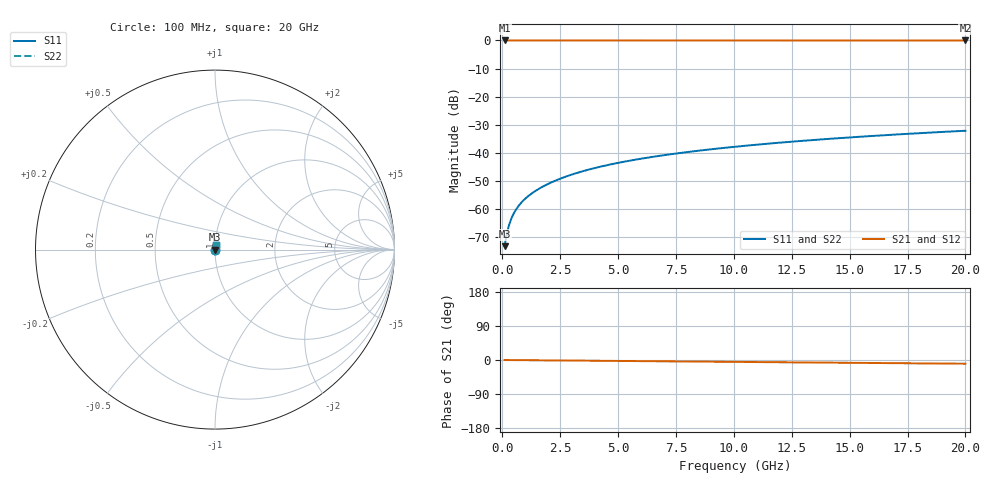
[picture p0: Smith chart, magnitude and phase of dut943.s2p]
! Touchstone file exported from HFSS 2026.1.0
!  File:  C:/ffzhzh/LocalFiles/Ansys_Project_Files/temp_train_TSV_943_1783187086_22436.aedt
!  Generated:  01:46:13 AM Jul  5, 2026
!  Design:  TSV
!  Project:  temp_train_TSV_943_1783187086_22436
! Variables:
!  h_bsmrdl = 2um
!  h_ox = 20um
!  h_rdl = 5um
!  h_sub = 98.18um
!  h_tmrdl = 5um
!  h_tsv = 98.18um
!  h_via = 3um
!  l_bsmrdl = 300um
!  l_sub = 421.06um
!  l_tmrdl = 200um
!  m_sub = 200um
!  pitch = 50.54um
!  r_tsv = 10.53um
!  s_tmrdl = 10um
!  w_bsmrdl = 18um
!  w_sub = 500um
!  w_tmrdl = 12um
!  x_tsv_center1 = 206um
!  x_tsv_center2 = 524um
!  x_tsv_center3 = 736um
!  x_tsv_center4 = 1054um
!  x_tsv_center5 = 1266um
!  x_tsv_center6 = 1584um
# GHz S MA R 50.000000
! Terminal data exported
! Port[1] = TSV1_1_T1
! Port[2] = TSV1_1_T2
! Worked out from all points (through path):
!   200 points, 100 MHz to 20 GHz, reference 50 ohm
!   highest |S21| = 0.00 dB at 100 MHz (marker M1); lowest = 0.0 dB at 20 GHz (marker M2)
!   group delay of S21, straight-line fit = 1.37 ps
!   lowest |S11| = -73.1 dB at 100 MHz (marker M3), VSWR 1.00, Z = 50 + j0.0173 ohm
!   |S11| at or under -10 dB: start of sweep to end of sweep
!   |S22| runs from -73.1 to -32.1 dB; largest |S21 - S12| = 3.3e-15
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0.1  0.0002202 51.9  0.9999 -0.1  0.9999 -0.1  0.0002202 51.9
! Gamma 0 0 0 0
! Port Impedance 50 0 50 0
0.2  0.0003747 66.5  0.9999 -0.1  0.9999 -0.1  0.0003747 66.5
0.3  0.0005362 71.5  0.9998 -0.2  0.9998 -0.2  0.0005362 71.5
0.4  0.000695 73.7  0.9998 -0.2  0.9998 -0.2  0.000695 73.7
0.5  0.0008487 74.7  0.9998 -0.3  0.9998 -0.3  0.0008487 74.7
0.6  0.0009969 75.4  0.9998 -0.3  0.9998 -0.3  0.0009969 75.4
0.7  0.00114 75.9  0.9997 -0.4  0.9997 -0.4  0.00114 75.9
0.9  0.001416 76.6  0.9997 -0.5  0.9997 -0.5  0.001416 76.6
1.1  0.001682 77.2  0.9996 -0.6  0.9996 -0.6  0.001682 77.2
1.3  0.001943 77.8  0.9996 -0.7  0.9996 -0.7  0.001943 77.8
1.6  0.00233 78.6  0.9996 -0.8  0.9996 -0.8  0.00233 78.6
1.9  0.002716 79.3  0.9995 -1.0  0.9995 -1.0  0.002716 79.3
2.6  0.003615 80.4  0.9995 -1.3  0.9995 -1.3  0.003615 80.4
3.5  0.004766 81.0  0.9994 -1.7  0.9994 -1.7  0.004766 81.0
4.2  0.005655 81.3  0.9993 -2.1  0.9993 -2.1  0.005655 81.3
5  0.006663 81.3  0.9993 -2.5  0.9993 -2.5  0.006663 81.3
6.8  0.008905 81.2  0.9991 -3.4  0.9991 -3.4  0.008905 81.2
8.3  0.01075 80.9  0.999 -4.1  0.999 -4.1  0.01075 80.9
10.1  0.01296 80.5  0.9989 -5.0  0.9989 -5.0  0.01296 80.5
13.4  0.01696 79.4  0.9987 -6.6  0.9987 -6.6  0.01696 79.4
16.7  0.02092 78.2  0.9985 -8.2  0.9985 -8.2  0.02092 78.2
20  0.02482 76.8  0.9982 -9.9  0.9982 -9.9  0.02482 76.8
